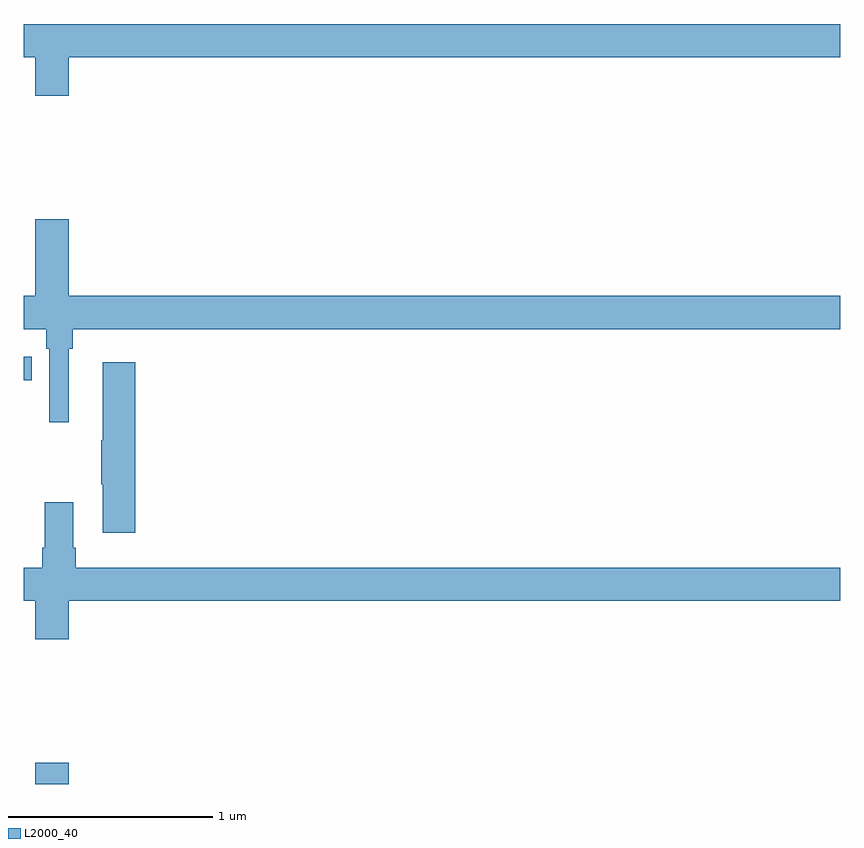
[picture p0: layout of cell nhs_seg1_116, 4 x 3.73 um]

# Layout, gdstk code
import gdstk
lib = gdstk.Library(unit=1e-6, precision=1e-09)
def R(c, l, rs):  # rectangles x0, y0, x1, y1
    for r in rs: c.add(gdstk.rectangle(r[:2], r[2:], *l))
def P(c, l, *ps):  # polygons
    for p in ps: c.add(gdstk.Polygon(p, *l))
L2000_40 = (2000, 40)

nhs_seg1_116 = lib.new_cell('nhs_seg1_116')
R(nhs_seg1_116, L2000_40, [(117.056,520.199,117.22,520.303), (117,522.178,117.038,522.294)])
P(nhs_seg1_116, L2000_40, [(117.22,523.76),(121,523.76),(121,523.924),(117,523.924),(117,523.76),(117.056,523.76),(117.056,523.572),(117.22,523.572)],
  [(117.22,522.332),(117.239,522.332),(117.239,522.428),(121,522.428),(121,522.592),(117.22,522.592),(117.22,522.967),(117.056,522.967),(117.056,522.592),(117,522.592),(117,522.428),(117.11,522.428),(117.11,522.332),(117.123,522.332),(117.123,521.973),(117.22,521.973)],
  [(117.545,522.265),(117.386,522.265),(117.386,521.885),(117.379,521.885),(117.379,521.668),(117.386,521.668),(117.386,521.43),(117.545,521.43)],
  [(117.22,521.096),(121,521.096),(121,521.26),(117.254,521.26),(117.254,521.356),(117.241,521.356),(117.241,521.581),(117.101,521.581),(117.101,521.356),(117.089,521.356),(117.089,521.26),(117,521.26),(117,521.096),(117.056,521.096),(117.056,520.908),(117.22,520.908)])

lib.write_gds('nhs_seg1_116.gds')
